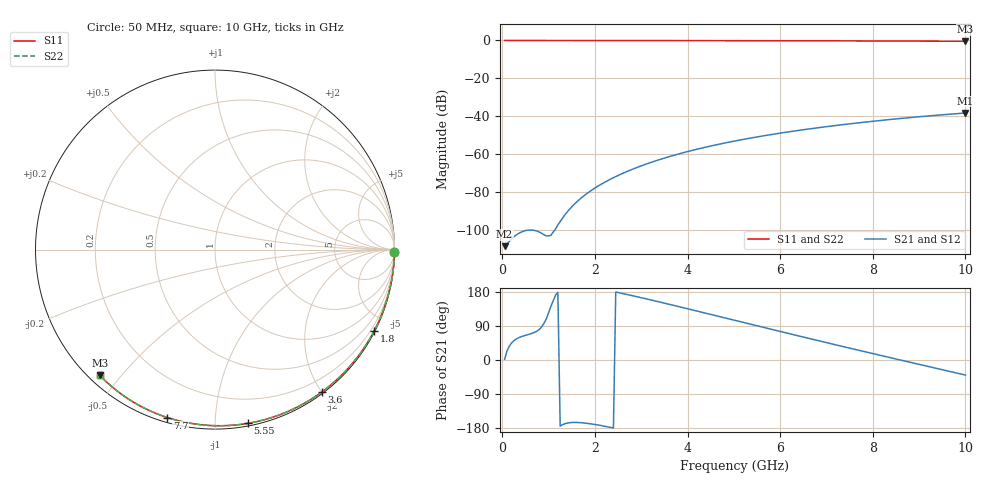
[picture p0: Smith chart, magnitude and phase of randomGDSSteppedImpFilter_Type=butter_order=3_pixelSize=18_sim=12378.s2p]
! freq	dB(S11)	phase(S11)	dB(S12)	phase(S12)
!  dB(S21)	phase(S21)	dB(S22)	phase(S22)
!S-par simulation data
#  GHz  S  DB  R 50
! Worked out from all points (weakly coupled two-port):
!   200 points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, 50 MHz to 10 GHz, reference 50 ohm
!   highest |S21| = -38.34 dB at 10 GHz (marker M1); lowest = -108.7 dB at 50 MHz (marker M2)
!   lowest |S11| = -0.4 dB at 10 GHz (marker M3), VSWR 39.15, Z = 1.52 - j22 ohm
!   |S11| at or under -10 dB: nowhere
!   |S22| runs from -0.4 to 0.0 dB; largest |S21 - S12| = 0
!   S11 on the Smith chart (normalised r, x): 50 MHz: open; 1.8 GHz: 0.04, -4.14; 3.6 GHz: 0.02, -2.00; 5.55 GHz: 0.02, -1.21; 7.7 GHz: 0.02, -0.76; 10 GHz: 0.03, -0.44
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0.05  -0.00 -0.8  -108.68 1.8  -108.68 1.8  -0.00 -0.8
0.9  -0.02 -13.7  -102.64 96.8  -102.64 96.8  -0.02 -13.7
1.75  -0.03 -26.4  -82.31 -166.0  -82.31 -166.0  -0.03 -26.4
1.8  -0.03 -27.1  -81.36 -166.7  -81.36 -166.7  -0.03 -27.1
1.85  -0.04 -27.9  -80.46 -167.5  -80.46 -167.5  -0.04 -27.9
1.9  -0.04 -28.6  -79.59 -168.3  -79.59 -168.3  -0.04 -28.6
2.05  -0.04 -30.8  -77.20 -171.2  -77.20 -171.2  -0.04 -30.8
2.25  -0.04 -33.8  -74.38 -175.7  -74.38 -175.7  -0.04 -33.8
2.45  -0.05 -36.7  -71.89 179.3  -71.89 179.3  -0.05 -36.7
2.65  -0.05 -39.6  -69.66 174.1  -69.66 174.1  -0.05 -39.6
3  -0.06 -44.6  -66.24 164.5  -66.24 164.5  -0.06 -44.6
3.4  -0.07 -50.3  -62.90 153.0  -62.90 153.0  -0.07 -50.3
3.6  -0.07 -53.1  -61.40 147.1  -61.40 147.1  -0.07 -53.1
4.3  -0.09 -62.7  -56.89 126.3  -56.89 126.3  -0.09 -62.7
5.05  -0.11 -72.7  -52.97 103.8  -52.97 103.8  -0.11 -72.8
5.55  -0.13 -79.3  -50.75 88.8  -50.75 88.8  -0.13 -79.3
6.1  -0.15 -86.3  -48.58 72.4  -48.58 72.4  -0.15 -86.3
6.7  -0.18 -93.8  -46.49 54.6  -46.49 54.6  -0.18 -93.8
7.7  -0.24 -105.8  -43.50 25.6  -43.50 25.6  -0.24 -105.9
8.35  -0.29 -113.5  -41.81 6.9  -41.81 6.9  -0.29 -113.5
9.15  -0.36 -122.8  -39.98 -15.8  -39.98 -15.8  -0.36 -122.8
10  -0.44 -132.5  -38.34 -39.7  -38.34 -39.7  -0.44 -132.5
